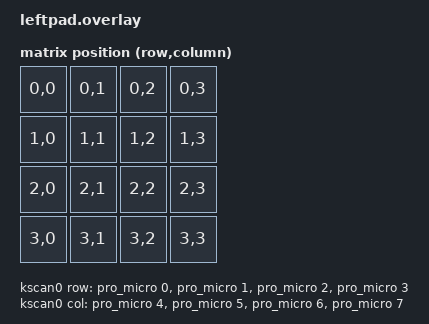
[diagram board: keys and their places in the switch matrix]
/*
 * leftpad —— 左手 4x4 矩阵小键盘（16 键）
 *
 * 矩阵接法：diode-direction = "col2row"
 *   列线(C) 输出高电平 → 按键 → 二极管(阳极朝列) → 行线(R) 读高电平
 *
 * 行 R0..R3 = D0,D1,D2,D3 = 丝印 008,006,017,020
 * 列 C0..C3 = D4,D5,D6,D7 = 丝印 022,024,100,011
 */

#include <dt-bindings/zmk/matrix_transform.h>
#include "leftpad-layouts.dtsi"

&physical_layout0 {
    transform = <&default_transform>;
};

/ {
    chosen {
        zmk,kscan = &kscan0;
        zmk,physical-layout = &physical_layout0;
    };

    default_transform: default_transform {
        compatible = "zmk,matrix-transform";
        columns = <4>;
        rows = <4>;
        map = <
            RC(0,0) RC(0,1) RC(0,2) RC(0,3)
            RC(1,0) RC(1,1) RC(1,2) RC(1,3)
            RC(2,0) RC(2,1) RC(2,2) RC(2,3)
            RC(3,0) RC(3,1) RC(3,2) RC(3,3)
            >;
    };

    kscan0: kscan {
        compatible = "zmk,kscan-gpio-matrix";
        wakeup-source;
        diode-direction = "col2row";

        row-gpios
            = <&pro_micro 0 (GPIO_ACTIVE_HIGH | GPIO_PULL_DOWN)>
            , <&pro_micro 1 (GPIO_ACTIVE_HIGH | GPIO_PULL_DOWN)>
            , <&pro_micro 2 (GPIO_ACTIVE_HIGH | GPIO_PULL_DOWN)>
            , <&pro_micro 3 (GPIO_ACTIVE_HIGH | GPIO_PULL_DOWN)>
            ;

        col-gpios
            = <&pro_micro 4 GPIO_ACTIVE_HIGH>
            , <&pro_micro 5 GPIO_ACTIVE_HIGH>
            , <&pro_micro 6 GPIO_ACTIVE_HIGH>
            , <&pro_micro 7 GPIO_ACTIVE_HIGH>
            ;
    };
};
